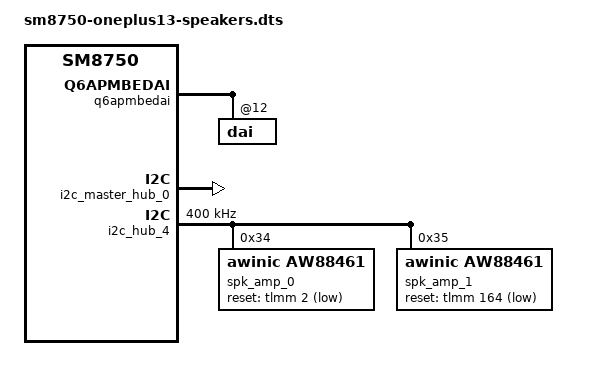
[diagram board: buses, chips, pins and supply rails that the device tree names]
// SPDX-License-Identifier: BSD-3-Clause
/* Speakers. Two Awinic AW88461 (product 0x2308) smart amps on I2C hub 4
 * (0x34 channel 0 = top/earpiece, 0x35 channel 1 = bottom speaker, as heard;
 * resets TLMM2 and TLMM164) share secondary MI2S from LPASS: TLMM121 SCK,
 * 123 WS, 122 data to the amps (the DSP's "SD1"; see audio/OnePlus-13.m4) and
 * 124 their I/V feedback. Stock pairs the earpiece with the bottom speaker as
 * a stereo pair ("receiver as left speaker"). The
 * amps load the stock acf profile file; their driver never goes above the
 * profile's own volume. Values match the saved CPH2655 stock tree.
 */
#include "sm8750-oneplus13-audio.dts"

&sound {
	pinctrl-0 = <&op13_i2s1_active>;
	pinctrl-names = "default";

	speaker-dai-link {
		link-name = "Speaker Playback";

		cpu {
			sound-dai = <&q6apmbedai SECONDARY_MI2S_RX>;
		};

		codec {
			sound-dai = <&spk_amp_0>, <&spk_amp_1>;
		};

		platform {
			sound-dai = <&q6apm>;
		};
	};
};

/* LPASS drives the secondary MI2S bit clock (and word select) for the amps. */
&q6apmbedai {
	#address-cells = <1>;
	#size-cells = <0>;

	dai@12 {
		reg = <SECONDARY_MI2S_RX>;
		clocks = <&q6prmcc LPASS_CLK_ID_SEC_MI2S_IBIT LPASS_CLK_ATTRIBUTE_COUPLE_NO>;
		clock-names = "bclk";
	};
};

&i2c_master_hub_0 {
	status = "okay";
};

&i2c_hub_4 {
	clock-frequency = <400000>;
	status = "okay";

	spk_amp_0: audio-codec@34 {
		compatible = "awinic,aw88461";
		reg = <0x34>;
		reset-gpios = <&tlmm 2 GPIO_ACTIVE_LOW>;
		awinic,audio-channel = <0>;
		firmware-name = "aw882xx_acf.bin";
		sound-name-prefix = "Top";
		#sound-dai-cells = <0>;
	};

	spk_amp_1: audio-codec@35 {
		compatible = "awinic,aw88461";
		reg = <0x35>;
		reset-gpios = <&tlmm 164 GPIO_ACTIVE_LOW>;
		awinic,audio-channel = <1>;
		firmware-name = "aw882xx_acf.bin";
		sound-name-prefix = "Bottom";
		#sound-dai-cells = <0>;
	};
};

&tlmm {
	/* Stock i2s1_*_active: 4 mA, no bias */
	op13_i2s1_active: oneplus13-i2s1-active-state {
		sck {
			pins = "gpio121";
			function = "i2s1_sck";
			drive-strength = <4>;
			bias-disable;
		};

		data0 {
			pins = "gpio122";
			function = "i2s1_data0";
			drive-strength = <4>;
			bias-disable;
		};

		ws {
			pins = "gpio123";
			function = "i2s1_ws";
			drive-strength = <4>;
			bias-disable;
		};

		/* Amp I/V feedback into the SoC (stock: pulled down) */
		data1 {
			pins = "gpio124";
			function = "i2s1_data1";
			drive-strength = <4>;
			bias-pull-down;
		};
	};
};
